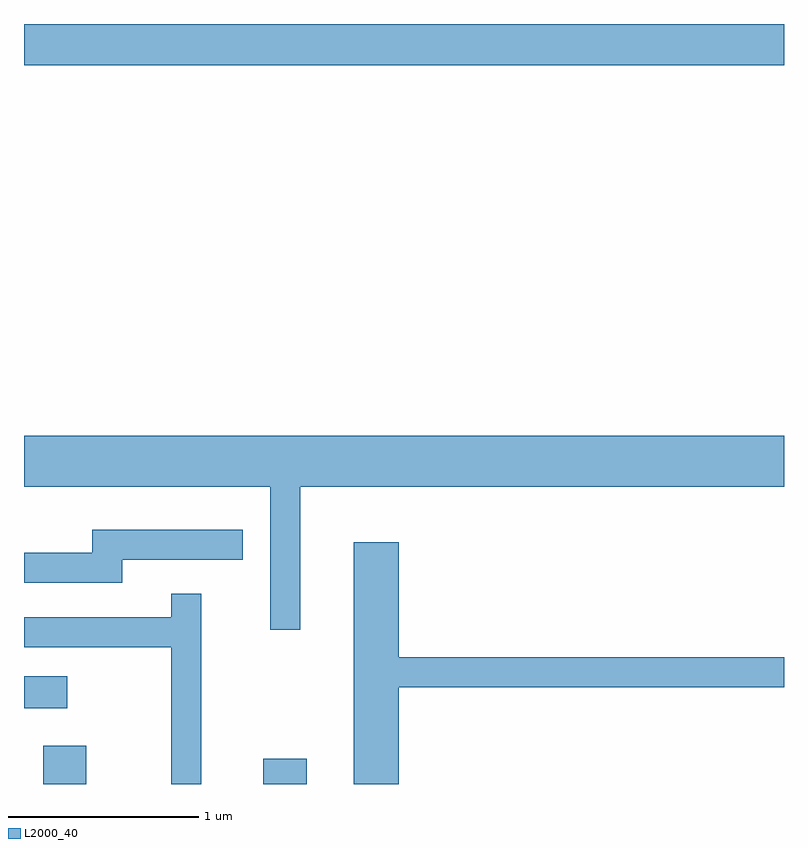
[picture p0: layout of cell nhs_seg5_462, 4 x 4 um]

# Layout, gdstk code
import gdstk
lib = gdstk.Library(unit=1e-6, precision=1e-09)
def R(c, l, rs):  # rectangles x0, y0, x1, y1
    for r in rs: c.add(gdstk.rectangle(r[:2], r[2:], *l))
def P(c, l, *ps):  # polygons
    for p in ps: c.add(gdstk.Polygon(p, *l))
L2000_40 = (2000, 40)

nhs_seg5_462 = lib.new_cell('nhs_seg5_462')
R(nhs_seg5_462, L2000_40, [(197.711,1504.072,197.939,1504.274), (198.871,1504.072,199.099,1504.204), (197.611,1504.471,197.838,1504.639), (197.611,1507.856,201.611,1508.072)])
P(nhs_seg5_462, L2000_40, [(199.064,1505.636),(201.611,1505.636),(201.611,1505.904),(197.611,1505.904),(197.611,1505.636),(198.906,1505.636),(198.906,1504.883),(199.064,1504.883)],
  [(198.129,1505.251),(198.763,1505.251),(198.763,1505.409),(197.971,1505.409),(197.971,1505.289),(197.611,1505.289),(197.611,1505.131),(198.129,1505.131)],
  [(199.584,1504.581),(201.611,1504.581),(201.611,1504.739),(199.584,1504.739),(199.584,1505.344),(199.346,1505.344),(199.346,1504.072),(199.584,1504.072)],
  [(198.544,1505.073),(198.386,1505.073),(198.386,1504.949),(197.611,1504.949),(197.611,1504.791),(198.386,1504.791),(198.386,1504.072),(198.544,1504.072)])

lib.write_gds('nhs_seg5_462.gds')
